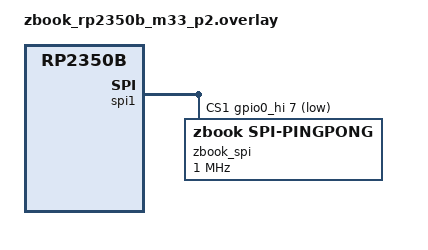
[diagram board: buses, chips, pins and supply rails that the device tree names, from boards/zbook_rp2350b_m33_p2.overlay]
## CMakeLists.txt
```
# SPDX-License-Identifier: Apache-2.0
#
# Copyright (c) Centro de Inovacao EDGE

cmake_minimum_required(VERSION 3.20.0)

if(NOT DEFINED BOARD)
    set(BOARD zbook@p2/rp2350b/m33)
endif()

find_package(Zephyr REQUIRED HINTS $ENV{ZEPHYR_BASE})

project(zbook_spi_loopback)

target_sources(app PRIVATE src/main.c)
```

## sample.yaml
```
sample:
  name: ZBook SPI ping-pong (master)
  description: >
    Bring-up sample that sends "PING" every 3 seconds over spi1's second
    chip-select and checks the reply against "PONG". Needs the slave app in
    samples/spi_pingpong/rp2350a_slave/ running on a second board wired to
    the same lines -- not something twister can assert on its own, hence
    build_only below.
tests:
  sample.protocols.spi_pingpong.master:
    tags:
      - samples
      - interface
      - protocols
      - spi
    platform_allow:
      - zbook@p2/rp2350b/m33
    build_only: true
```

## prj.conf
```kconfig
CONFIG_ZBOOK_SPI=y
CONFIG_LOG=y
CONFIG_ZBOOK_SPI_LOG_LEVEL_DBG=y
```

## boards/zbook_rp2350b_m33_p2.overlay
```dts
/*
 * P2-revision overlay for the spi_pingpong master sample.
 *
 * spi1 already carries the onboard BMI323 accelerometer (bmi323@0, CS on
 * GPIO09). Rather than displacing it, this overlay adds zbook_spi as a
 * second device on the SAME bus with its OWN chip-select: cs-gpios on an
 * SPI bus node is a list, and each child's `reg` indexes into it, so two
 * devices can share SCK/MOSI/MISO and only take turns on CS.
 *
 * The new CS (GPIO39, header H1 pin 10) is a spare pin -- grep confirms
 * it's unused anywhere else in zbook_rp2350b_m33_p2-common.dtsi. GPIO39 is
 * &gpio0_hi 7 (gpio0_hi is the +32 GPIO bank: 32 + 7 = 39), matching the
 * `GPIO37 = SD_CS` / `GPIO09 = SPI_ACCEL_CS` comment style already used in
 * the board file for the other cs-gpios entries.
 *
 * The onboard accelerometer keeps working: this only adds a second device,
 * it doesn't touch bmi323's node or its cs-gpios[0] entry.
 */

&spi1 {
	cs-gpios = <&gpio0 9 GPIO_ACTIVE_LOW>,    /* index 0: GPIO09 = SPI_ACCEL_CS, BMI323 */
		   <&gpio0_hi 7 GPIO_ACTIVE_LOW>;  /* index 1: GPIO39 = SPI_PINGPONG_CS */

	zbook_spi: zbook_spi@1 {
		compatible = "zbook,spi-pingpong";
		reg = <1>;
		spi-max-frequency = <1000000>;
	};
};
```

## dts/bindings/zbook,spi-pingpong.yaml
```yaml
description: ZBook SPI ping-pong bring-up sample device (no real Zephyr driver --
  placeholder child node so zbook_spi can get a spi_dt_spec addressing the second
  CS line on spi1, alongside the onboard BMI323 on the first)

compatible: "zbook,spi-pingpong"

include: spi-device.yaml
```

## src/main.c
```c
/*******************************************************************
 * @file main.c
 *
 * @brief Real-hardware bring-up sample for the zbook SPI interface: sends
 * "PING" every 3 seconds to a second SPI-slave board and checks the reply
 * is "PONG". The slave is a plain GPIO bit-bang implementation (see
 * samples/spi_pingpong/rp2350a_slave/) since no Zephyr SPI driver for
 * RP2350 supports peripheral/slave mode.
 * @author José Félix de Oliveira Neto (josefelix.neto@edge.ufal.br)
 * @version 0.1
 * @date 15/09/26
 *
 * @copyright Copyright (c) 2026
 *
 *******************************************************************/

#include <string.h>

#include <zephyr/kernel.h>
#include <zephyr/sys/printk.h>

#include "protocols/zbook_spi.h"

#define SPI_PINGPONG_LEN    4U
#define SPI_PINGPONG_PERIOD K_MSEC(3000)

static const uint8_t ping[SPI_PINGPONG_LEN] = "PING";
static const uint8_t pong[SPI_PINGPONG_LEN] = "PONG";
static uint8_t rx_buf[SPI_PINGPONG_LEN];

int main(void)
{
	int ret = zbook_spi_init();

	if (ret != 0) {
		printk("zbook_spi_init failed: %d\n", ret);
		return ret;
	}

	/* 10 kHz: slow enough for the slave's GPIO-interrupt bit-bang to keep up
	 * (no Zephyr SPI driver on RP2350 supports SPI_OP_MODE_SLAVE, so the
	 * other side can't use hardware SPI at all).
	 */
	const struct zbook_spi_cfg cfg = {
		.frequency = 10000U,
		.mode = ZBOOK_SPI_MODE_0,
		.bit_order = ZBOOK_SPI_MSB_FIRST,
		.word_size = 8U,
	};

	ret = zbook_spi_configure(&cfg);
	if (ret != 0) {
		printk("zbook_spi_configure failed: %d\n", ret);
		return ret;
	}

	printk("zbook SPI ping-pong sample: sending PING every 3s, watch this console.\n");

	while (1) {
		memset(rx_buf, 0, SPI_PINGPONG_LEN);

		ret = zbook_spi_transceive(ping, rx_buf, SPI_PINGPONG_LEN);
		if (ret != 0) {
			printk("transceive failed: %d\n", ret);
		} else if (memcmp(rx_buf, pong, SPI_PINGPONG_LEN) == 0) {
			printk("PING -> PONG  (slave alive)\n");
		} else {
			printk("PING -> %02x %02x %02x %02x  (no/garbage reply)\n", rx_buf[0],
			       rx_buf[1], rx_buf[2], rx_buf[3]);
		}

		k_sleep(SPI_PINGPONG_PERIOD);
	}
}
```
